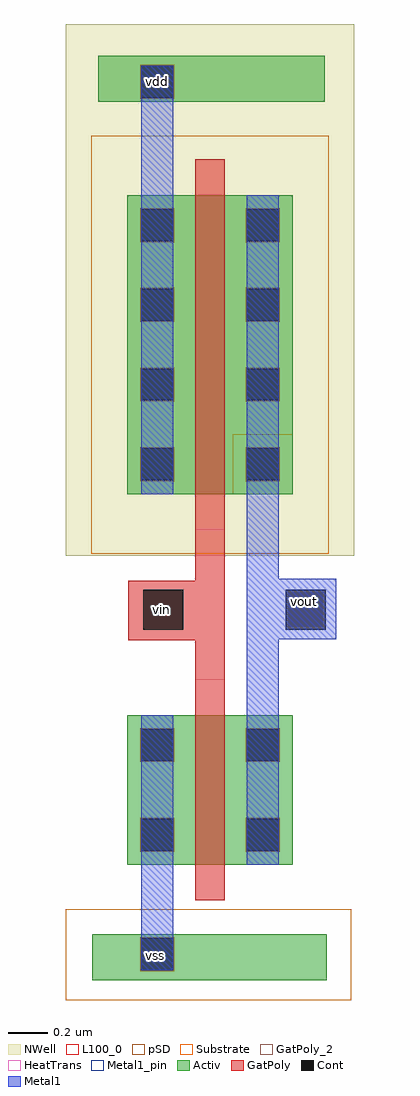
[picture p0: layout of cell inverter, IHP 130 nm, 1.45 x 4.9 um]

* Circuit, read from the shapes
.subckt inverter vdd vin vout vss
XM1 vout vin vss vss sg13_lv_nmos w=0.75u l=0.15u
XM2 vout vin vdd vdd sg13_lv_pmos w=1.5u l=0.15u
.ends

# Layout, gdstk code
import gdstk
lib = gdstk.Library(unit=1e-6, precision=5e-09)
def R(c, l, rs):  # rectangles x0, y0, x1, y1
    for r in rs: c.add(gdstk.rectangle(r[:2], r[2:], *l))
def A(c, l, x, y, w, h, nx, ny, dx, dy):  # array of equal rectangles
    R(c, l, [(x+i*dx, y+j*dy, x+i*dx+w, y+j*dy+h) for i in range(nx) for j in range(ny)])
def P(c, l, *ps):  # polygons
    for p in ps: c.add(gdstk.Polygon(p, *l))
Activ = (1, 0)
GatPoly = (5, 0)
GatPoly_2 = (5, 2)
Cont = (6, 0)
Metal1 = (8, 0)
Metal1_pin = (8, 2)
pSD = (14, 0)
NWell = (31, 0)
Substrate = (40, 0)
HeatTrans = (51, 0)
L100_0 = (100, 0)

nmos_1 = lib.new_cell('nmos$1')
R(nmos_1, Activ, [(0,0,0.3,0.3), (0,0,0.83,0.75), (0.53,0,0.83,0.3)])
R(nmos_1, GatPoly, [(0.34,-0.18,0.49,0.93)])
R(nmos_1, GatPoly_2, [(0.34,-0.18,0.49,0.93)])
R(nmos_1, Cont, [(0.07,0.07,0.23,0.23), (0.6,0.07,0.76,0.23), (0.07,0.52,0.23,0.68), (0.6,0.52,0.76,0.68)])
R(nmos_1, Metal1, [(0.07,0,0.23,0.75), (0.6,0,0.76,0.75)])
R(nmos_1, Metal1_pin, [(0.07,0,0.23,0.75), (0.6,0,0.76,0.75)])
R(nmos_1, HeatTrans, [(0.34,-0.18,0.49,0.93)])
nmos_1.add(gdstk.Label('nmos', (0.415,0.375), layer=63, texttype=0))
nmos_1.add(gdstk.Label('nmos', (0.415,0.375), layer=51, texttype=0))

pmos_1 = lib.new_cell('pmos$1')
R(pmos_1, Activ, [(0,0,0.3,0.3), (0,0,0.83,1.5), (0.53,0,0.83,0.3)])
R(pmos_1, GatPoly, [(0.34,-0.18,0.49,1.68), (0.34,-0.18,0.49,1.68)])
A(pmos_1, Cont, 0.07, 0.07, 0.16, 0.16, 1, 4, 0, 0.4)
A(pmos_1, Cont, 0.6, 0.07, 0.16, 0.16, 1, 4, 0, 0.4)
R(pmos_1, Metal1, [(0.07,0,0.23,1.5), (0.07,0,0.23,1.5), (0.6,0,0.76,1.5), (0.6,0,0.76,1.5)])
R(pmos_1, pSD, [(-0.18,-0.3,1.01,1.8)])
R(pmos_1, NWell, [(-0.31,-0.31,1.14,1.81)])
R(pmos_1, Substrate, [(0.53,0,0.83,0.3)])
R(pmos_1, HeatTrans, [(0.34,-0.18,0.49,1.68)])
pmos_1.add(gdstk.Label('pmos', (0.415,0.75), layer=63, texttype=0))
pmos_1.add(gdstk.Label('pmos', (0.415,0.75), layer=51, texttype=0))

inverter = lib.new_cell('inverter')
R(inverter, Activ, [(-0.62,-1.585,0.555,-1.355), (-0.59,2.825,0.545,3.055)])
P(inverter, GatPoly, [(-0.105,-0.075),(-0.105,0.12),(-0.44,0.12),(-0.44,0.42),(-0.105,0.42),(-0.105,0.675),(0.045,0.675),(0.045,-0.075)])
R(inverter, GatPoly_2, [(-0.365,0.175,-0.165,0.375)])
R(inverter, Cont, [(-0.375,-1.535,-0.215,-1.375), (-0.365,0.175,-0.165,0.375), (0.35,0.175,0.55,0.375), (-0.375,2.845,-0.215,3.005)])
R(inverter, Metal1, [(-0.375,-1.535,-0.215,-1.005), (-0.375,2.355,-0.215,3.005)])
P(inverter, Metal1, [(0.155,-0.255),(0.155,0.855),(0.315,0.855),(0.315,0.43),(0.605,0.43),(0.605,0.125),(0.315,0.125),(0.315,-0.255)])
R(inverter, Metal1_pin, [(-0.375,-1.535,-0.215,-1.375), (0.35,0.175,0.55,0.375), (-0.375,2.845,-0.215,3.005)])
R(inverter, pSD, [(-0.755,-1.685,0.68,-1.23)])
R(inverter, NWell, [(-0.755,2.665,0.695,3.215)])
R(inverter, L100_0, [(-0.38,-1.54,-0.21,-1.37), (-0.38,-1.54,-0.21,-1.37), (-0.38,-0.94,-0.21,-0.77), (-0.38,-0.94,-0.21,-0.77), (0.15,-0.94,0.32,-0.77), (0.15,-0.94,0.32,-0.77), (-0.38,-0.49,-0.21,-0.32), (-0.38,-0.49,-0.21,-0.32), (0.15,-0.49,0.32,-0.32), (0.15,-0.49,0.32,-0.32), (-0.38,0.92,-0.21,1.09), (-0.38,0.92,-0.21,1.09), (0.15,0.92,0.32,1.09), (0.15,0.92,0.32,1.09), (-0.38,1.32,-0.21,1.49), (-0.38,1.32,-0.21,1.49), (0.15,1.32,0.32,1.49), (0.15,1.32,0.32,1.49), (-0.38,1.72,-0.21,1.89), (-0.38,1.72,-0.21,1.89), (0.15,1.72,0.32,1.89), (0.15,1.72,0.32,1.89), (-0.38,2.12,-0.21,2.29), (-0.38,2.12,-0.21,2.29), (0.15,2.12,0.32,2.29), (0.15,2.12,0.32,2.29), (-0.38,2.84,-0.21,3.01), (-0.38,2.84,-0.21,3.01)])
inverter.add(gdstk.Reference(nmos_1, (-0.445,-1.005)))
inverter.add(gdstk.Reference(pmos_1, (-0.445,0.855)))
inverter.add(gdstk.Label('vout', (0.445,0.315), layer=8, texttype=2))
inverter.add(gdstk.Label('vdd', (-0.295,2.925), layer=8, texttype=2))
inverter.add(gdstk.Label('vss', (-0.305,-1.46), layer=8, texttype=2))
inverter.add(gdstk.Label('vin', (-0.275,0.275), layer=5, texttype=2))

lib.write_gds('inverter.gds')
